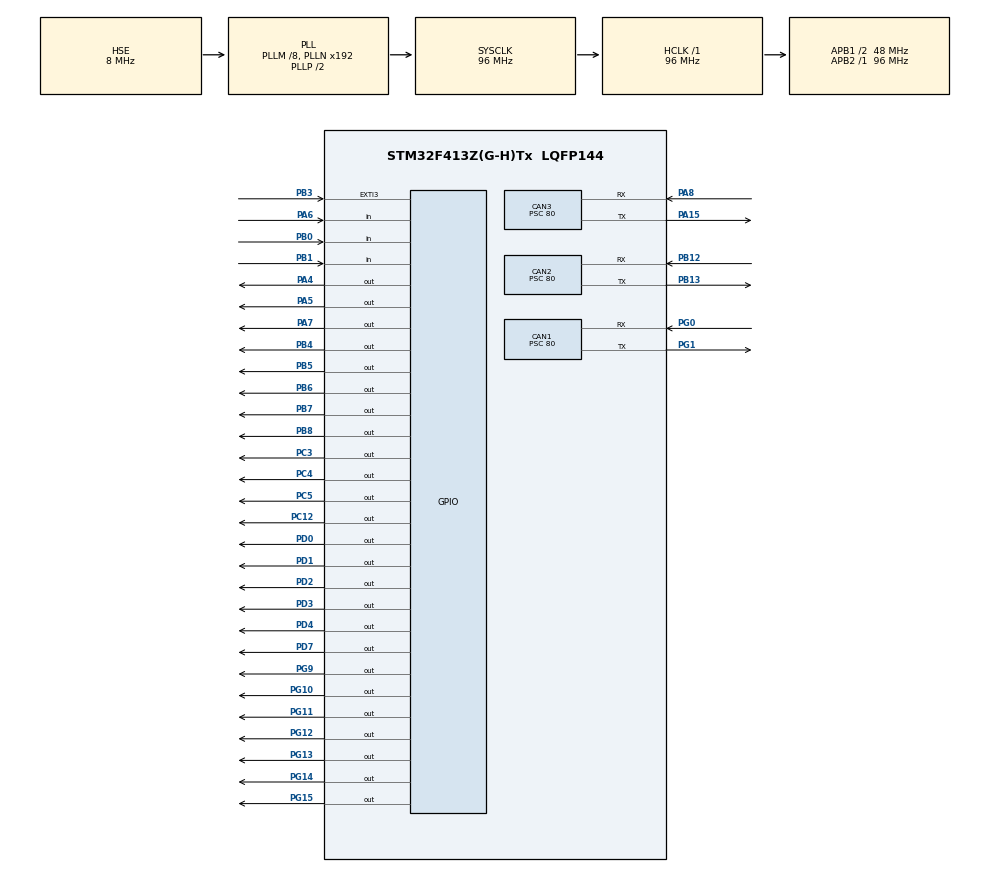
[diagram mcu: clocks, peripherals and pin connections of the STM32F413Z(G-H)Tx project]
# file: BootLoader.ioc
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CAN1.BS1=CAN_BS1_9TQ
CAN1.BS2=CAN_BS2_8TQ
CAN1.CalculateBaudRate=33333
CAN1.CalculateTimeBit=30000
CAN1.CalculateTimeQuantum=1666.6666666666665
CAN1.Mode=CAN_MODE_NORMAL
CAN1.Prescaler=80
CAN2.BS1=CAN_BS1_9TQ
CAN2.BS2=CAN_BS2_8TQ
CAN2.CalculateBaudRate=33333
CAN2.CalculateTimeBit=30000
CAN2.CalculateTimeQuantum=1666.6666666666665
CAN2.Mode=CAN_MODE_NORMAL
CAN2.Prescaler=80
CAN3.BS1=CAN_BS1_9TQ
CAN3.BS2=CAN_BS2_8TQ
CAN3.CalculateBaudRate=33333
CAN3.CalculateTimeBit=30000
CAN3.CalculateTimeQuantum=1666.6666666666665
CAN3.Mode=CAN_MODE_NORMAL
CAN3.Prescaler=80
Mcu.Family=STM32F4
Mcu.Name=STM32F413Z(G-H)Tx
Mcu.Package=LQFP144
NVIC.CAN1_RX0_IRQn=true\:9\:0\:true\:false\:true\:true\:true\:true
NVIC.CAN2_RX1_IRQn=true\:10\:0\:true\:false\:true\:true\:true\:true
NVIC.CAN3_RX0_IRQn=true\:11\:0\:true\:false\:true\:true\:true\:true
NVIC.EXTI3_IRQn=true\:8\:0\:true\:false\:true\:true\:true\:true
NVIC.PriorityGroup=NVIC_PRIORITYGROUP_4
PA1.Signal=ADCx_IN1
PA13.Mode=Serial_Wire
PA13.Signal=SYS_JTMS-SWDIO
PA14.Mode=Serial_Wire
PA14.Signal=SYS_JTCK-SWCLK
PA15.Mode=CAN_Activate
PA15.Signal=CAN3_TX
PA2.Signal=ADCx_IN2
PA3.Signal=ADCx_IN3
PA4.GPIO_Speed=GPIO_SPEED_FREQ_VERY_HIGH
PA4.Signal=GPIO_Output
PA5.GPIO_Speed=GPIO_SPEED_FREQ_MEDIUM
PA5.Signal=GPIO_Output
PA6.Signal=GPIO_Input
PA7.GPIO_Speed=GPIO_SPEED_FREQ_MEDIUM
PA7.Signal=GPIO_Output
PA8.Mode=CAN_Activate
PA8.Signal=CAN3_RX
PB0.Signal=GPIO_Input
PB1.Signal=GPIO_Input
PB10.Signal=USART3_TX
PB11.Signal=USART3_RX
PB12.Mode=CAN_Activate
PB12.Signal=CAN2_RX
PB13.Mode=CAN_Activate
PB13.Signal=CAN2_TX
PB3.GPIO_ModeDefaultEXTI=GPIO_MODE_IT_FALLING
PB3.Signal=GPXTI3
PB4.PinState=GPIO_PIN_SET
PB4.Signal=GPIO_Output
PB5.GPIO_Speed=GPIO_SPEED_FREQ_VERY_HIGH
PB5.Signal=GPIO_Output
PB6.GPIO_Speed=GPIO_SPEED_FREQ_VERY_HIGH
PB6.Signal=GPIO_Output
PB7.GPIO_Speed=GPIO_SPEED_FREQ_VERY_HIGH
PB7.Signal=GPIO_Output
PB8.Signal=GPIO_Output
PC12.Signal=GPIO_Output
PC3.GPIO_Speed=GPIO_SPEED_FREQ_VERY_HIGH
PC3.Signal=GPIO_Output
PC4.PinState=GPIO_PIN_RESET
PC4.Signal=GPIO_Output
PC5.Signal=GPIO_Output
PC6.Signal=USART6_TX
PC7.Signal=USART6_RX
PD0.Signal=GPIO_Output
PD1.Signal=GPIO_Output
PD2.Signal=GPIO_Output
PD3.Signal=GPIO_Output
PD4.Signal=GPIO_Output
PD5.Signal=USART2_TX
PD6.Signal=USART2_RX
PD7.Signal=GPIO_Output
PE7.Signal=UART7_RX
PE8.Signal=UART7_TX
PG0.Mode=CAN_Activate
PG0.Signal=CAN1_RX
PG1.Mode=CAN_Activate
PG1.Signal=CAN1_TX
PG10.Signal=GPIO_Output
PG11.Signal=GPIO_Output
PG12.PinState=GPIO_PIN_SET
PG12.Signal=GPIO_Output
PG13.Signal=GPIO_Output
PG14.Signal=GPIO_Output
PG15.Signal=GPIO_Output
PG9.Signal=GPIO_Output
PH0\ -\ OSC_IN.Mode=HSE-External-Oscillator
PH0\ -\ OSC_IN.Signal=RCC_OSC_IN
PH1\ -\ OSC_OUT.Mode=HSE-External-Oscillator
PH1\ -\ OSC_OUT.Signal=RCC_OSC_OUT
ProjectManager.HeapSize=0x200
ProjectManager.StackSize=0x400
ProjectManager.TargetToolchain=MDK-ARM V5.32
RCC.AHBFreq_Value=96000000
RCC.APB1CLKDivider=RCC_HCLK_DIV2
RCC.APB1Freq_Value=48000000
RCC.APB1TimFreq_Value=96000000
RCC.APB2Freq_Value=96000000
RCC.APB2TimFreq_Value=96000000
RCC.CortexFreq_Value=96000000
RCC.HCLKFreq_Value=96000000
RCC.HSE_VALUE=8000000
RCC.PLLM=8
RCC.PLLSourceVirtual=RCC_PLLSOURCE_HSE
RCC.SYSCLKFreq_VALUE=96000000
RCC.SYSCLKSource=RCC_SYSCLKSOURCE_PLLCLK
RCC.USBFreq_Value=96000000
RCC.VCOOutputFreq_Value=192000000
SH.ADCx_IN1.0=ADC1_IN1
SH.ADCx_IN2.0=ADC1_IN2
SH.ADCx_IN3.0=ADC1_IN3
board=custom

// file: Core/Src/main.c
/* USER CODE BEGIN Header */
/**
  ******************************************************************************
  * @file           : main.c
  * @brief          : Main program body
  ******************************************************************************
  * @attention
  *
  * Copyright (c) 2022 STMicroelectronics.
  * All rights reserved.
  *
  * This software is licensed under terms that can be found in the LICENSE file
  * in the root directory of this software component.
  * If no LICENSE file comes with this software, it is provided AS-IS.
  *
  ******************************************************************************
  */
/* USER CODE END Header */
#include "main.h"
#include "can.h"
#include "gpio.h"

void SystemClock_Config(void);

int main(void)
{

  /* MCU Configuration--------------------------------------------------------*/

  /* Reset of all peripherals, Initializes the Flash interface and the Systick. */
  HAL_Init();

  /* Configure the system clock */
  SystemClock_Config();

  /* Initialize all configured peripherals */
  MX_GPIO_Init();
  MX_CAN1_Init();
  MX_CAN2_Init();
  MX_CAN3_Init();
  /* USER CODE BEGIN 2 */
  MainInit();
  /* USER CODE END 2 */

  /* Infinite loop */
  /* USER CODE BEGIN WHILE */
  while (1)
  {
	  	MainWork();
		#if 0  //@ss
		__disable_irq();									//关总中断

    	HAL_FLASH_Unlock();

		FLASH_WaitForLastOperation(5000);

	    My_FLASH_Erase.TypeErase = FLASH_TYPEERASE_SECTORS;
	    My_FLASH_Erase.Sector = FLASH_SECTOR_2;
	    My_FLASH_Erase.NbSectors = 4;
	    My_FLASH_Erase.VoltageRange = FLASH_VOLTAGE_RANGE_3;

		while(HAL_FLASHEx_Erase(&My_FLASH_Erase, &Error))
		{
			HAL_Delay(1000);
		}

		FLASH_WaitForLastOperation(5000);

		while(HAL_FLASH_Program(FLASH_TYPEPROGRAM_WORD, 0x08008004, *msg))		//@ss改为按单字，并行位数需与电压范围一致
		{
			HAL_Delay(1000);
		}
		while(1)
			__NOP();

		#endif

    /* USER CODE END WHILE */

  }
}

void SystemClock_Config(void)
{
  RCC_OscInitTypeDef RCC_OscInitStruct = {0};
  RCC_ClkInitTypeDef RCC_ClkInitStruct = {0};

  /** Configure the main internal regulator output voltage
  */
  __HAL_RCC_PWR_CLK_ENABLE();
  __HAL_PWR_VOLTAGESCALING_CONFIG(PWR_REGULATOR_VOLTAGE_SCALE1);
  /** Initializes the RCC Oscillators according to the specified parameters
  * in the RCC_OscInitTypeDef structure.
  */
  RCC_OscInitStruct.OscillatorType = RCC_OSCILLATORTYPE_HSE;
  RCC_OscInitStruct.HSEState = RCC_HSE_ON;
  RCC_OscInitStruct.PLL.PLLState = RCC_PLL_ON;
  RCC_OscInitStruct.PLL.PLLSource = RCC_PLLSOURCE_HSE;
  RCC_OscInitStruct.PLL.PLLM = 8;
  RCC_OscInitStruct.PLL.PLLN = 192;
  RCC_OscInitStruct.PLL.PLLP = RCC_PLLP_DIV2;
  RCC_OscInitStruct.PLL.PLLQ = 2;
  RCC_OscInitStruct.PLL.PLLR = 2;
  if (HAL_RCC_OscConfig(&RCC_OscInitStruct) != HAL_OK)
  {
    Error_Handler();
  }
  /** Initializes the CPU, AHB and APB buses clocks
  */
  RCC_ClkInitStruct.ClockType = RCC_CLOCKTYPE_HCLK|RCC_CLOCKTYPE_SYSCLK
                              |RCC_CLOCKTYPE_PCLK1|RCC_CLOCKTYPE_PCLK2;
  RCC_ClkInitStruct.SYSCLKSource = RCC_SYSCLKSOURCE_PLLCLK;
  RCC_ClkInitStruct.AHBCLKDivider = RCC_SYSCLK_DIV1;
  RCC_ClkInitStruct.APB1CLKDivider = RCC_HCLK_DIV2;
  RCC_ClkInitStruct.APB2CLKDivider = RCC_HCLK_DIV1;

  if (HAL_RCC_ClockConfig(&RCC_ClkInitStruct, FLASH_LATENCY_3) != HAL_OK)
  {
    Error_Handler();
  }
}

void Error_Handler(void)
{
  __disable_irq();
  while (1)
  {
  }
}

/************************ (C) COPYRIGHT STMicroelectronics *****END OF FILE****/
